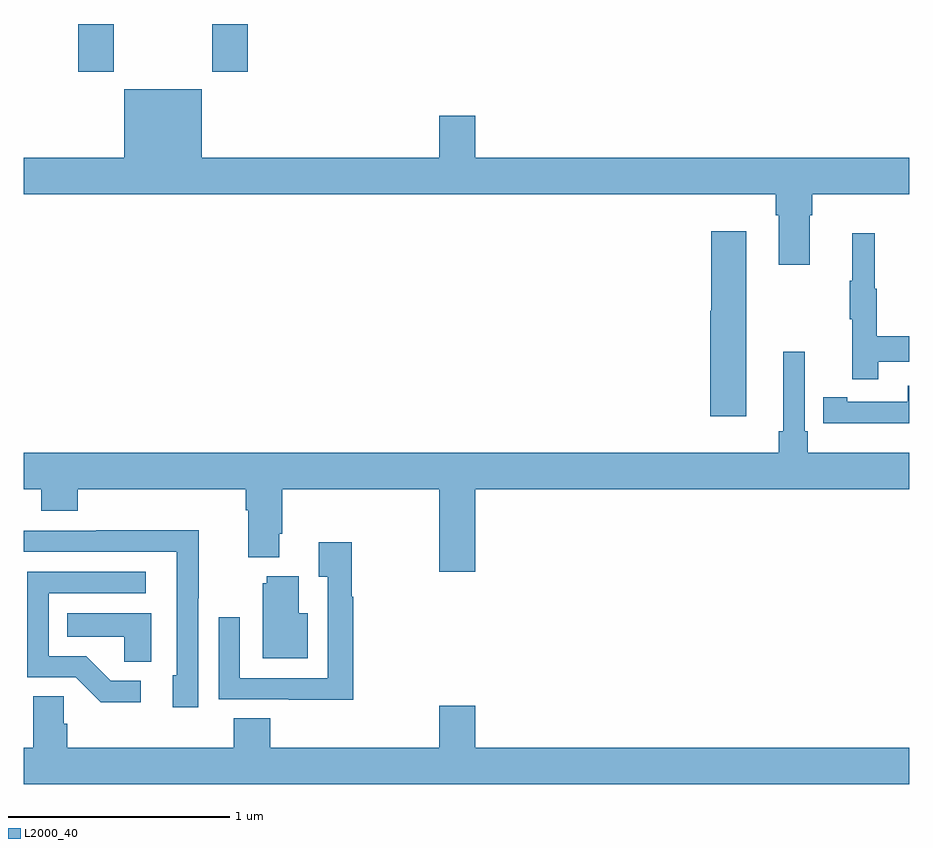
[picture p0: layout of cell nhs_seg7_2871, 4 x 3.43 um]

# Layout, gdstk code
import gdstk
lib = gdstk.Library(unit=1e-6, precision=1e-09)
def R(c, l, rs):  # rectangles x0, y0, x1, y1
    for r in rs: c.add(gdstk.rectangle(r[:2], r[2:], *l))
def P(c, l, *ps):  # polygons
    for p in ps: c.add(gdstk.Polygon(p, *l))
L2000_40 = (2000, 40)

nhs_seg7_2871 = lib.new_cell('nhs_seg7_2871')
R(nhs_seg7_2871, L2000_40, [(295.247,1051.785,295.407,1052), (295.852,1051.785,296.012,1052)])
P(nhs_seg7_2871, L2000_40, [(297.04,1051.585),(296.876,1051.585),(296.876,1051.396),(295.804,1051.396),(295.804,1051.705),(295.454,1051.705),(295.454,1051.396),(295,1051.396),(295,1051.232),(298.397,1051.232),(298.397,1051.136),(298.409,1051.136),(298.409,1050.912),(298.549,1050.912),(298.549,1051.136),(298.562,1051.136),(298.562,1051.232),(299,1051.232),(299,1051.396),(297.04,1051.396)],
  [(298.264,1051.063),(298.106,1051.063),(298.106,1050.705),(298.1,1050.705),(298.1,1050.228),(298.264,1050.228)],
  [(298.859,1050.474),(299,1050.474),(299,1050.59),(298.852,1050.59),(298.852,1050.804),(298.844,1050.804),(298.844,1051.054),(298.742,1051.054),(298.742,1050.841),(298.731,1050.841),(298.731,1050.667),(298.742,1050.667),(298.742,1050.396),(298.859,1050.396)],
  [(297.04,1049.9),(299,1049.9),(299,1050.064),(298.541,1050.064),(298.541,1050.16),(298.527,1050.16),(298.527,1050.52),(298.43,1050.52),(298.43,1050.16),(298.411,1050.16),(298.411,1050.064),(295,1050.064),(295,1049.9),(295.079,1049.9),(295.079,1049.801),(295.244,1049.801),(295.244,1049.9),(296.003,1049.9),(296.003,1049.804),(296.015,1049.804),(296.015,1049.591),(296.155,1049.591),(296.155,1049.698),(296.168,1049.698),(296.168,1049.9),(296.876,1049.9),(296.876,1049.526),(297.04,1049.526)],
  [(299,1050.366),(298.992,1050.366),(298.992,1050.294),(298.72,1050.294),(298.72,1050.314),(298.612,1050.314),(298.612,1050.198),(298.72,1050.198),(298.72,1050.197),(299,1050.197)],
  [(295.788,1049.407),(295.791,1049.407),(295.791,1049.714),(295.327,1049.714),(295.327,1049.712),(295,1049.712),(295,1049.616),(295.692,1049.616),(295.692,1049.058),(295.673,1049.058),(295.673,1048.914),(295.788,1048.914)],
  [(296.489,1049.414),(296.482,1049.414),(296.482,1049.659),(296.333,1049.659),(296.333,1049.503),(296.373,1049.503),(296.373,1049.046),(295.977,1049.046),(295.977,1049.32),(295.881,1049.32),(295.881,1048.95),(296.197,1048.95),(296.197,1048.949),(296.489,1048.949)],
  [(295.528,1049.034),(295.393,1049.034),(295.282,1049.145),(295.113,1049.145),(295.113,1049.43),(295.552,1049.43),(295.552,1049.526),(295.017,1049.526),(295.017,1049.049),(295.236,1049.049),(295.349,1048.937),(295.528,1048.937)],
  [(296.284,1049.338),(296.242,1049.338),(296.242,1049.506),(296.099,1049.506),(296.099,1049.475),(296.081,1049.475),(296.081,1049.135),(296.284,1049.135)],
  [(295.576,1049.338),(295.198,1049.338),(295.198,1049.234),(295.455,1049.234),(295.455,1049.119),(295.576,1049.119)],
  [(299,1048.732),(297.04,1048.732),(297.04,1048.921),(296.876,1048.921),(296.876,1048.732),(296.114,1048.732),(296.114,1048.865),(295.949,1048.865),(295.949,1048.732),(295.196,1048.732),(295.196,1048.841),(295.182,1048.841),(295.182,1048.964),(295.043,1048.964),(295.043,1048.732),(295,1048.732),(295,1048.568),(299,1048.568)])

lib.write_gds('nhs_seg7_2871.gds')
